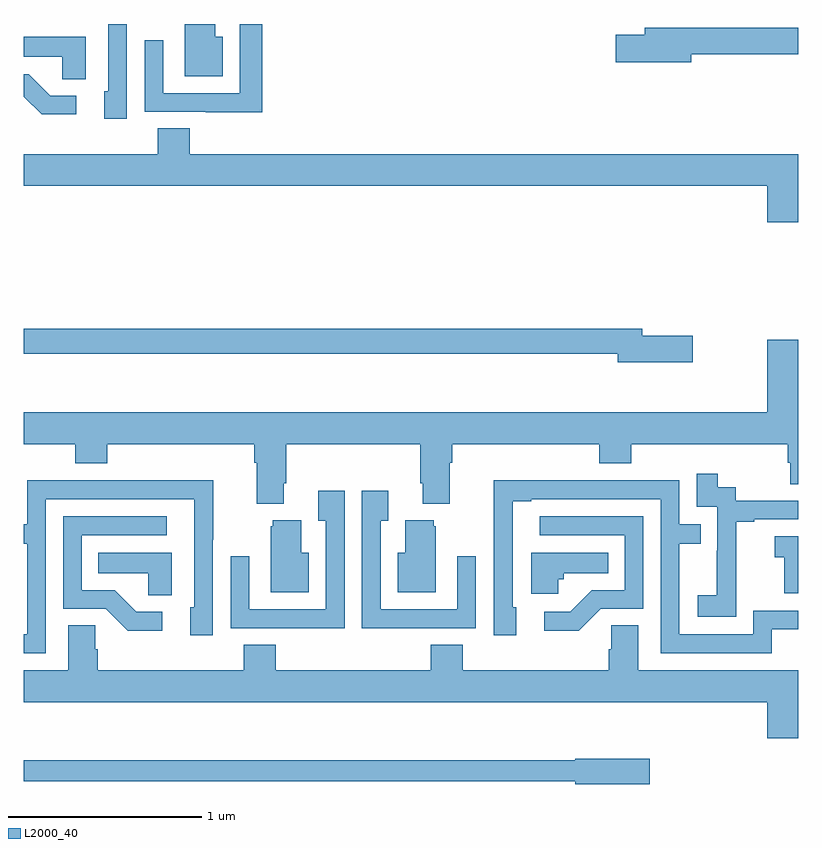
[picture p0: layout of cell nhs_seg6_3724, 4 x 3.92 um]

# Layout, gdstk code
import gdstk
lib = gdstk.Library(unit=1e-6, precision=1e-09)
def P(c, l, *ps):  # polygons
    for p in ps: c.add(gdstk.Polygon(p, *l))
L2000_40 = (2000, 40)

nhs_seg6_3724 = lib.new_cell('nhs_seg6_3724')
P(nhs_seg6_3724, L2000_40, [(329.532,953.5),(329.436,953.5),(329.436,953.154),(329.417,953.154),(329.417,953.01),(329.532,953.01)],
  [(330.028,953.434),(329.989,953.434),(329.989,953.5),(329.831,953.5),(329.831,953.231),(330.028,953.231)],
  [(330.233,953.5),(330.117,953.5),(330.117,953.142),(329.721,953.142),(329.721,953.416),(329.625,953.416),(329.625,953.046),(329.941,953.046),(329.941,953.045),(330.233,953.045)],
  [(332.446,953.344),(333,953.344),(333,953.48),(332.207,953.48),(332.207,953.444),(332.058,953.444),(332.058,953.302),(332.446,953.302)],
  [(329.32,953.434),(329,953.434),(329,953.33),(329.199,953.33),(329.199,953.215),(329.32,953.215)],
  [(329.272,953.13),(329.137,953.13),(329.026,953.241),(329,953.241),(329,953.125),(329.093,953.033),(329.272,953.033)],
  [(333,952.828),(329.858,952.828),(329.858,952.961),(329.693,952.961),(329.693,952.828),(329,952.828),(329,952.664),(332.84,952.664),(332.84,952.476),(333,952.476)],
  [(332.455,951.89),(332.194,951.89),(332.194,951.926),(329,951.926),(329,951.798),(332.066,951.798),(332.066,951.755),(332.455,951.755)],
  [(330.343,951.13),(330.356,951.13),(330.356,951.332),(331.049,951.332),(331.049,951.13),(331.061,951.13),(331.061,951.023),(331.201,951.023),(331.201,951.236),(331.214,951.236),(331.214,951.332),(331.973,951.332),(331.973,951.233),(332.138,951.233),(332.138,951.332),(332.945,951.332),(332.945,951.234),(332.957,951.234),(332.957,951.124),(333,951.124),(333,951.871),(332.84,951.871),(332.84,951.496),(329,951.496),(329,951.332),(329.267,951.332),(329.267,951.233),(329.432,951.233),(329.432,951.332),(330.191,951.332),(330.191,951.236),(330.203,951.236),(330.203,951.023),(330.343,951.023)],
  [(332.679,950.647),(332.678,950.647),(332.678,950.931),(332.773,950.931),(332.773,950.943),(333,950.943),(333,951.039),(332.676,951.039),(332.676,951.108),(332.584,951.108),(332.584,951.178),(332.475,951.178),(332.475,951.009),(332.58,951.009),(332.58,950.78),(332.579,950.78),(332.579,950.551),(332.481,950.551),(332.481,950.441),(332.679,950.441)],
  [(332.863,950.376),(333,950.376),(333,950.472),(332.766,950.472),(332.766,950.349),(332.385,950.349),(332.385,950.818),(332.495,950.818),(332.495,950.919),(332.385,950.919),(332.385,951.144),(331.889,951.144),(331.889,951.146),(331.426,951.146),(331.426,950.839),(331.428,950.839),(331.428,950.346),(331.543,950.346),(331.543,950.49),(331.524,950.49),(331.524,951.036),(331.621,951.036),(331.621,951.048),(332.289,951.048),(332.289,950.253),(332.863,950.253)],
  [(329.115,951.048),(329.88,951.048),(329.88,950.49),(329.861,950.49),(329.861,950.346),(329.976,950.346),(329.976,950.839),(329.979,950.839),(329.979,951.146),(329.515,951.146),(329.515,951.144),(329.019,951.144),(329.019,950.919),(329,950.919),(329,950.818),(329.019,950.818),(329.019,950.349),(329,950.349),(329,950.253),(329.115,950.253)],
  [(330.657,951.091),(330.521,951.091),(330.521,950.935),(330.561,950.935),(330.561,950.478),(330.165,950.478),(330.165,950.752),(330.069,950.752),(330.069,950.382),(330.385,950.382),(330.385,950.381),(330.657,950.381)],
  [(331.019,950.382),(331.335,950.382),(331.335,950.752),(331.239,950.752),(331.239,950.478),(330.843,950.478),(330.843,950.935),(330.883,950.935),(330.883,951.091),(330.747,951.091),(330.747,950.381),(331.019,950.381)],
  [(329.716,950.466),(329.581,950.466),(329.47,950.577),(329.301,950.577),(329.301,950.862),(329.74,950.862),(329.74,950.958),(329.205,950.958),(329.205,950.481),(329.424,950.481),(329.537,950.369),(329.716,950.369)],
  [(331.98,950.481),(332.199,950.481),(332.199,950.958),(331.665,950.958),(331.665,950.862),(332.103,950.862),(332.103,950.577),(331.934,950.577),(331.823,950.466),(331.689,950.466),(331.689,950.369),(331.867,950.369)],
  [(331.129,950.907),(331.118,950.907),(331.118,950.938),(330.971,950.938),(330.971,950.77),(330.932,950.77),(330.932,950.567),(331.129,950.567)],
  [(330.472,950.77),(330.433,950.77),(330.433,950.938),(330.287,950.938),(330.287,950.907),(330.275,950.907),(330.275,950.567),(330.472,950.567)],
  [(333,950.857),(332.877,950.857),(332.877,950.747),(332.926,950.747),(332.926,950.562),(333,950.562)],
  [(331.761,950.634),(331.788,950.634),(331.788,950.666),(332.018,950.666),(332.018,950.77),(331.622,950.77),(331.622,950.558),(331.761,950.558)],
  [(329.764,950.77),(329.386,950.77),(329.386,950.666),(329.643,950.666),(329.643,950.551),(329.764,950.551)],
  [(333,950.164),(332.173,950.164),(332.173,950.396),(332.034,950.396),(332.034,950.273),(332.021,950.273),(332.021,950.164),(331.268,950.164),(331.268,950.297),(331.103,950.297),(331.103,950.164),(330.302,950.164),(330.302,950.297),(330.137,950.297),(330.137,950.164),(329.384,950.164),(329.384,950.273),(329.37,950.273),(329.37,950.396),(329.231,950.396),(329.231,950.164),(329,950.164),(329,950),(332.84,950),(332.84,949.812),(333,949.812)],
  [(332.233,949.707),(331.848,949.707),(331.848,949.699),(329,949.699),(329,949.59),(331.848,949.59),(331.848,949.577),(332.233,949.577)])

lib.write_gds('nhs_seg6_3724.gds')
